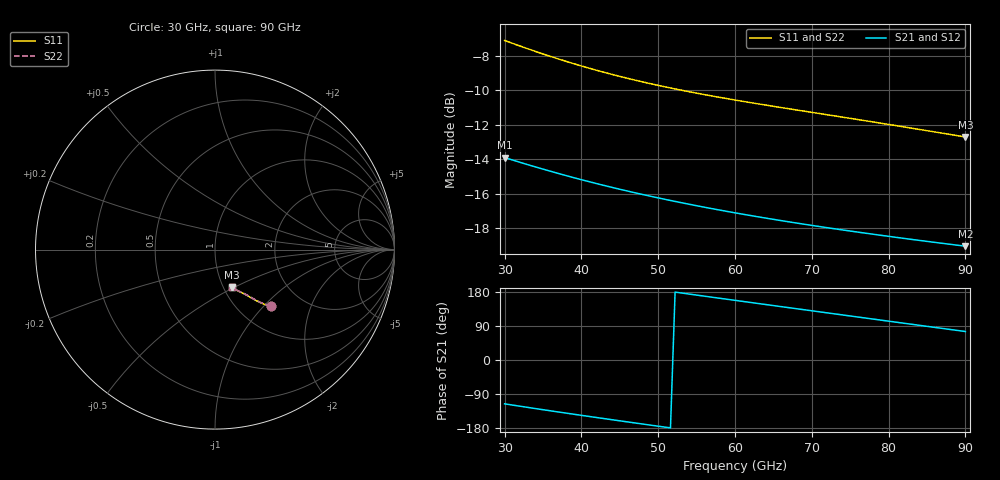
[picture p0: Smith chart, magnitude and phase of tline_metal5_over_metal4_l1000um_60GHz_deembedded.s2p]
! Created with skrf 2.2.0 (http://scikit-rf.org).
# GHz S DB R 50.0
! Port[1] = P1
! Port[2] = P2
!freq dBS11 angS11 dBS21 angS21 dBS12 angS12 dBS22 angS22
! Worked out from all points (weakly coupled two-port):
!   101 points, 30 GHz to 90 GHz, reference 50 ohm
!   highest |S21| = -13.91 dB at 30 GHz (marker M1); lowest = -19.1 dB at 90 GHz (marker M2)
!   lowest |S11| = -12.7 dB at 90 GHz (marker M3), VSWR 1.60, Z = 54.8 - j24.4 ohm
!   |S11| at or under -10 dB: 53.1 GHz to end of sweep
!   |S22| runs from -12.7 to -7.1 dB; largest |S21 - S12| = 2.1e-13
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30  -7.10 -45.5  -13.91 -115.7  -13.91 -115.7  -7.10 -45.3
32.4  -7.49 -47.0  -14.24 -123.2  -14.24 -123.2  -7.49 -46.8
34.8  -7.86 -48.3  -14.55 -130.5  -14.55 -130.5  -7.86 -48.1
37.2  -8.20 -49.4  -14.86 -137.8  -14.86 -137.8  -8.20 -49.2
40.2  -8.61 -50.7  -15.22 -146.6  -15.22 -146.6  -8.61 -50.4
42.6  -8.91 -51.5  -15.49 -153.6  -15.49 -153.6  -8.91 -51.2
45  -9.19 -52.3  -15.75 -160.5  -15.75 -160.5  -9.19 -52.0
47.4  -9.45 -53.0  -16.00 -167.3  -16.00 -167.3  -9.45 -52.7
50.4  -9.75 -53.9  -16.29 -175.8  -16.29 -175.8  -9.75 -53.5
52.8  -9.97 -54.5  -16.51 177.5  -16.51 177.5  -9.97 -54.2
55.2  -10.18 -55.2  -16.72 170.8  -16.72 170.8  -10.17 -54.8
60  -10.56 -56.5  -17.12 157.4  -17.12 157.4  -10.56 -56.2
63  -10.79 -57.4  -17.35 149.1  -17.35 149.1  -10.78 -57.0
65.4  -10.96 -58.2  -17.53 142.5  -17.53 142.5  -10.95 -57.8
67.8  -11.13 -58.9  -17.70 135.9  -17.70 135.9  -11.12 -58.5
70.2  -11.29 -59.7  -17.86 129.3  -17.86 129.3  -11.29 -59.2
72.6  -11.46 -60.5  -18.02 122.8  -18.02 122.8  -11.45 -60.0
75  -11.63 -61.2  -18.18 116.2  -18.18 116.2  -11.62 -60.8
77.4  -11.80 -62.0  -18.33 109.6  -18.33 109.6  -11.79 -61.5
80.4  -12.01 -63.0  -18.51 101.4  -18.51 101.4  -12.00 -62.4
85.2  -12.36 -64.4  -18.79 88.3  -18.79 88.3  -12.35 -63.8
90  -12.71 -65.8  -19.06 75.2  -19.06 75.2  -12.71 -65.1
